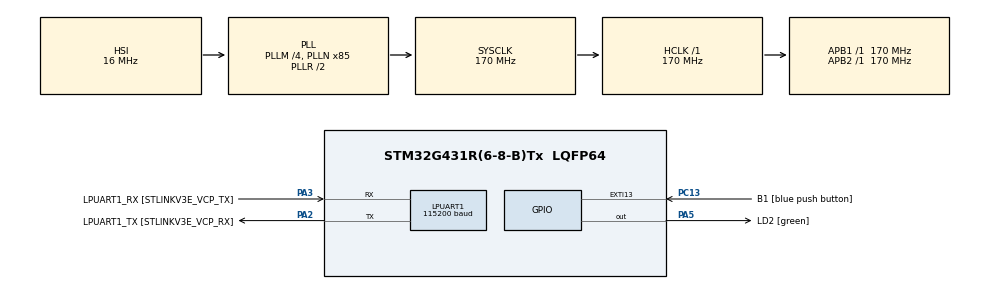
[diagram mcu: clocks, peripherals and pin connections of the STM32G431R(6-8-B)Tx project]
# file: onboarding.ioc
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LPUART1.BaudRate=115200
LPUART1.WordLength=UART_WORDLENGTH_8B
Mcu.Family=STM32G4
Mcu.Name=STM32G431R(6-8-B)Tx
Mcu.Package=LQFP64
NVIC.EXTI15_10_IRQn=true\:0\:0\:false\:false\:true\:true\:true\:true
NVIC.PriorityGroup=NVIC_PRIORITYGROUP_4
PA13.GPIO_Label=T_SWDIO
PA13.Mode=Serial_Wire
PA13.Signal=SYS_JTMS-SWDIO
PA14.GPIO_Label=T_SWCLK
PA14.Mode=Serial_Wire
PA14.Signal=SYS_JTCK-SWCLK
PA2.GPIO_Label=LPUART1_TX [STLINKV3E_VCP_RX]
PA2.Mode=Asynchronous
PA2.Signal=LPUART1_TX
PA3.GPIO_Label=LPUART1_RX [STLINKV3E_VCP_TX]
PA3.Mode=Asynchronous
PA3.Signal=LPUART1_RX
PA5.GPIO_Label=LD2 [green]
PA5.Signal=GPIO_Output
PB3.GPIO_Label=T_SWO
PB3.Signal=SYS_JTDO-SWO
PC13.GPIO_Label=B1 [blue push button]
PC13.GPIO_ModeDefaultEXTI=GPIO_MODE_IT_FALLING
PC13.Signal=GPXTI13
PC14-OSC32_IN.Mode=LSE-External-Oscillator
PC14-OSC32_IN.Signal=RCC_OSC32_IN
PC15-OSC32_OUT.Mode=LSE-External-Oscillator
PC15-OSC32_OUT.Signal=RCC_OSC32_OUT
PF0-OSC_IN.Mode=HSE-External-Oscillator
PF0-OSC_IN.Signal=RCC_OSC_IN
PF1-OSC_OUT.Mode=HSE-External-Oscillator
PF1-OSC_OUT.Signal=RCC_OSC_OUT
ProjectManager.HeapSize=0x200
ProjectManager.StackSize=0x400
ProjectManager.TargetToolchain=STM32CubeIDE
RCC.ADC12Freq_Value=170000000
RCC.AHBFreq_Value=170000000
RCC.APB1Freq_Value=170000000
RCC.APB1TimFreq_Value=170000000
RCC.APB2Freq_Value=170000000
RCC.APB2TimFreq_Value=170000000
RCC.CortexFreq_Value=170000000
RCC.EXTERNAL_CLOCK_VALUE=12288000
RCC.HCLKFreq_Value=170000000
RCC.HSE_VALUE=24000000
RCC.HSI48_VALUE=48000000
RCC.HSI_VALUE=16000000
RCC.PLLM=RCC_PLLM_DIV4
RCC.PLLN=85
RCC.RTCClockSelection=RCC_RTCCLKSOURCE_LSE
RCC.SYSCLKFreq_VALUE=170000000
RCC.SYSCLKSource=RCC_SYSCLKSOURCE_PLLCLK
RCC.USBFreq_Value=170000000
RCC.VCOOutputFreq_Value=340000000
TIM16.Prescaler=17000-1
VP_SYS_VS_DBSignals.Mode=DisableDeadBatterySignals
VP_TIM16_VS_ClockSourceINT.Mode=Enable_Timer
board=NUCLEO-G431RB

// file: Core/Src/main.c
/* USER CODE BEGIN Header */
/**
  ******************************************************************************
  * @file           : main.c
  * @brief          : Main program body
  ******************************************************************************
  * @attention
  *
  * Copyright (c) 2023 STMicroelectronics.
  * All rights reserved.
  *
  * This software is licensed under terms that can be found in the LICENSE file
  * in the root directory of this software component.
  * If no LICENSE file comes with this software, it is provided AS-IS.
  *
  ******************************************************************************
  */
/* USER CODE END Header */
#include "main.h"

UART_HandleTypeDef hlpuart1;

TIM_HandleTypeDef htim16;

/* USER CODE BEGIN PV */
uint8_t beforeState = 0;
/* USER CODE END PV */

void SystemClock_Config(void);
static void MX_GPIO_Init(void);
static void MX_LPUART1_UART_Init(void);
static void MX_TIM16_Init(void);

/* USER CODE BEGIN 0 */

void HAL_GPIO_EXTI_Callback(uint16_t GPIO_Pin)
{
	beforeState++;

	if (beforeState > 2) {
		beforeState = 0;
	}
}

/* USER CODE END 0 */

int main(void)
{
  /* USER CODE BEGIN 1 */

	uint16_t timer_val;

  /* USER CODE END 1 */

  /* MCU Configuration--------------------------------------------------------*/

  /* Reset of all peripherals, Initializes the Flash interface and the Systick. */
  HAL_Init();

  /* Configure the system clock */
  SystemClock_Config();

  /* Initialize all configured peripherals */
  MX_GPIO_Init();
  MX_LPUART1_UART_Init();
  MX_TIM16_Init();
  /* USER CODE BEGIN 2 */

  HAL_TIM_Base_Start(&htim16);

  timer_val = __HAL_TIM_GET_COUNTER(&htim16);

  /* USER CODE END 2 */

  /* Infinite loop */
  /* USER CODE BEGIN WHILE */
  while (1)
  {

	  // 1 HZ
	  if (beforeState == 0)
	  {
		  if(__HAL_TIM_GET_COUNTER(&htim16) - timer_val >= 5000)
		  {
			  HAL_GPIO_TogglePin(GPIOA, GPIO_PIN_5);
			  timer_val = __HAL_TIM_GET_COUNTER(&htim16);
		  }
	  }

	  uint32_t odr;
	  // 2 HZ
	  if (beforeState == 1)
	  {
		  if(__HAL_TIM_GET_COUNTER(&htim16) - timer_val >= 2500)
		  {

			  odr = GPIOA->ODR;
			  GPIOA->BSRR = ((odr & (1<<5)) << 16) | (~odr & (1<<5));
		  	timer_val = __HAL_TIM_GET_COUNTER(&htim16);
		  }
	  }

	  // 4 HZ
	  if (beforeState == 2)
	  {
		  if(__HAL_TIM_GET_COUNTER(&htim16) - timer_val >= 1250)
		  {
		  	HAL_GPIO_TogglePin(GPIOA, GPIO_PIN_5);
		  	timer_val = __HAL_TIM_GET_COUNTER(&htim16);
		  }
	  }

    /* USER CODE END WHILE */

  }
}

void SystemClock_Config(void)
{
  RCC_OscInitTypeDef RCC_OscInitStruct = {0};
  RCC_ClkInitTypeDef RCC_ClkInitStruct = {0};

  /** Configure the main internal regulator output voltage
  */
  HAL_PWREx_ControlVoltageScaling(PWR_REGULATOR_VOLTAGE_SCALE1_BOOST);

  /** Initializes the RCC Oscillators according to the specified parameters
  * in the RCC_OscInitTypeDef structure.
  */
  RCC_OscInitStruct.OscillatorType = RCC_OSCILLATORTYPE_HSI;
  RCC_OscInitStruct.HSIState = RCC_HSI_ON;
  RCC_OscInitStruct.HSICalibrationValue = RCC_HSICALIBRATION_DEFAULT;
  RCC_OscInitStruct.PLL.PLLState = RCC_PLL_ON;
  RCC_OscInitStruct.PLL.PLLSource = RCC_PLLSOURCE_HSI;
  RCC_OscInitStruct.PLL.PLLM = RCC_PLLM_DIV4;
  RCC_OscInitStruct.PLL.PLLN = 85;
  RCC_OscInitStruct.PLL.PLLP = RCC_PLLP_DIV2;
  RCC_OscInitStruct.PLL.PLLQ = RCC_PLLQ_DIV2;
  RCC_OscInitStruct.PLL.PLLR = RCC_PLLR_DIV2;
  if (HAL_RCC_OscConfig(&RCC_OscInitStruct) != HAL_OK)
  {
    Error_Handler();
  }

  /** Initializes the CPU, AHB and APB buses clocks
  */
  RCC_ClkInitStruct.ClockType = RCC_CLOCKTYPE_HCLK|RCC_CLOCKTYPE_SYSCLK
                              |RCC_CLOCKTYPE_PCLK1|RCC_CLOCKTYPE_PCLK2;
  RCC_ClkInitStruct.SYSCLKSource = RCC_SYSCLKSOURCE_PLLCLK;
  RCC_ClkInitStruct.AHBCLKDivider = RCC_SYSCLK_DIV1;
  RCC_ClkInitStruct.APB1CLKDivider = RCC_HCLK_DIV1;
  RCC_ClkInitStruct.APB2CLKDivider = RCC_HCLK_DIV1;

  if (HAL_RCC_ClockConfig(&RCC_ClkInitStruct, FLASH_LATENCY_4) != HAL_OK)
  {
    Error_Handler();
  }
}

static void MX_LPUART1_UART_Init(void)
{

  hlpuart1.Instance = LPUART1;
  hlpuart1.Init.BaudRate = 115200;
  hlpuart1.Init.WordLength = UART_WORDLENGTH_8B;
  hlpuart1.Init.StopBits = UART_STOPBITS_1;
  hlpuart1.Init.Parity = UART_PARITY_NONE;
  hlpuart1.Init.Mode = UART_MODE_TX_RX;
  hlpuart1.Init.HwFlowCtl = UART_HWCONTROL_NONE;
  hlpuart1.Init.OneBitSampling = UART_ONE_BIT_SAMPLE_DISABLE;
  hlpuart1.Init.ClockPrescaler = UART_PRESCALER_DIV1;
  hlpuart1.AdvancedInit.AdvFeatureInit = UART_ADVFEATURE_NO_INIT;
  if (HAL_UART_Init(&hlpuart1) != HAL_OK)
  {
    Error_Handler();
  }
  if (HAL_UARTEx_SetTxFifoThreshold(&hlpuart1, UART_TXFIFO_THRESHOLD_1_8) != HAL_OK)
  {
    Error_Handler();
  }
  if (HAL_UARTEx_SetRxFifoThreshold(&hlpuart1, UART_RXFIFO_THRESHOLD_1_8) != HAL_OK)
  {
    Error_Handler();
  }
  if (HAL_UARTEx_DisableFifoMode(&hlpuart1) != HAL_OK)
  {
    Error_Handler();
  }

}

static void MX_TIM16_Init(void)
{

  htim16.Instance = TIM16;
  htim16.Init.Prescaler = 17000-1;
  htim16.Init.CounterMode = TIM_COUNTERMODE_UP;
  htim16.Init.Period = 65535;
  htim16.Init.ClockDivision = TIM_CLOCKDIVISION_DIV1;
  htim16.Init.RepetitionCounter = 0;
  htim16.Init.AutoReloadPreload = TIM_AUTORELOAD_PRELOAD_DISABLE;
  if (HAL_TIM_Base_Init(&htim16) != HAL_OK)
  {
    Error_Handler();
  }

}

static void MX_GPIO_Init(void)
{
  GPIO_InitTypeDef GPIO_InitStruct = {0};

  /* GPIO Ports Clock Enable */
  __HAL_RCC_GPIOC_CLK_ENABLE();
  __HAL_RCC_GPIOF_CLK_ENABLE();
  __HAL_RCC_GPIOA_CLK_ENABLE();
  __HAL_RCC_GPIOB_CLK_ENABLE();

  /*Configure GPIO pin Output Level */
  HAL_GPIO_WritePin(LD2_GPIO_Port, LD2_Pin, GPIO_PIN_RESET);

  /*Configure GPIO pin : B1_Pin */
  GPIO_InitStruct.Pin = B1_Pin;
  GPIO_InitStruct.Mode = GPIO_MODE_IT_FALLING;
  GPIO_InitStruct.Pull = GPIO_NOPULL;
  HAL_GPIO_Init(B1_GPIO_Port, &GPIO_InitStruct);

  /*Configure GPIO pin : LD2_Pin */
  GPIO_InitStruct.Pin = LD2_Pin;
  GPIO_InitStruct.Mode = GPIO_MODE_OUTPUT_PP;
  GPIO_InitStruct.Pull = GPIO_NOPULL;
  GPIO_InitStruct.Speed = GPIO_SPEED_FREQ_LOW;
  HAL_GPIO_Init(LD2_GPIO_Port, &GPIO_InitStruct);

  /* EXTI interrupt init*/
  HAL_NVIC_SetPriority(EXTI15_10_IRQn, 0, 0);
  HAL_NVIC_EnableIRQ(EXTI15_10_IRQn);

}

void Error_Handler(void)
{
  __disable_irq();
  while (1)
  {
  }
}
